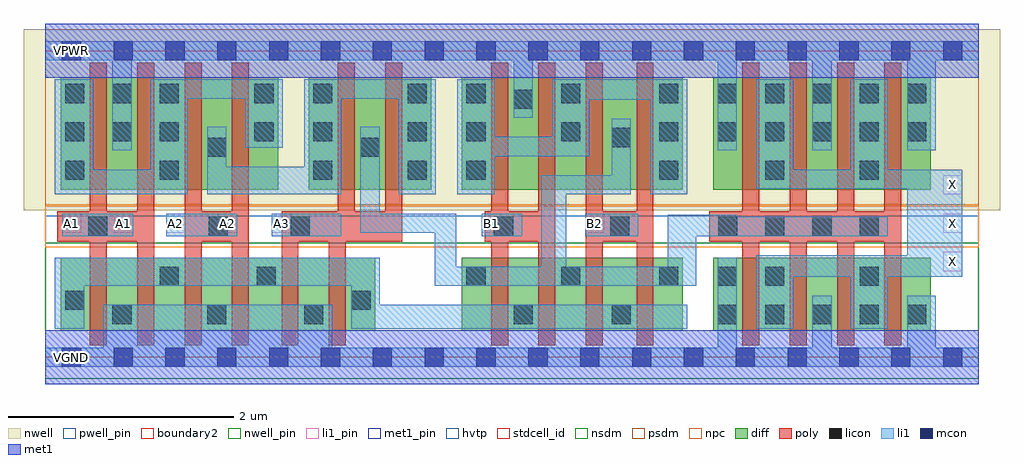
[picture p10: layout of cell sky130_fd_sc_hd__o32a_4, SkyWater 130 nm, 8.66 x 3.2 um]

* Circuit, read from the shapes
.subckt sky130_fd_sc_hd__o32a_4 A1 A2 A3 B1 B2 VGND VNB VPB VPWR X
XM1 VGND A1 n1 VNB sky130_fd_pr__nfet_01v8 w=0.65 l=0.15 m=2
XM2 VGND A2 n1 VNB sky130_fd_pr__nfet_01v8 w=0.65 l=0.15 m=2
XM3 VGND A3 n1 VNB sky130_fd_pr__nfet_01v8 w=0.65 l=0.15 m=2
XM4 n1 B1 n2 VNB sky130_fd_pr__nfet_01v8 w=0.65 l=0.15 m=2
XM5 n1 B2 n2 VNB sky130_fd_pr__nfet_01v8 w=0.65 l=0.15 m=2
XM6 X n2 VGND VNB sky130_fd_pr__nfet_01v8 w=0.65 l=0.15 m=4
XM7 VPWR A1 n3 VPB sky130_fd_pr__pfet_01v8_hvt w=1 l=0.15 m=2
XM8 n4 A2 n3 VPB sky130_fd_pr__pfet_01v8_hvt w=1 l=0.15 m=2
XM9 n2 A3 n4 VPB sky130_fd_pr__pfet_01v8_hvt w=1 l=0.15 m=2
XM10 VPWR B1 n5 VPB sky130_fd_pr__pfet_01v8_hvt w=1 l=0.15 m=2
XM11 n2 B2 n5 VPB sky130_fd_pr__pfet_01v8_hvt w=1 l=0.15 m=2
XM12 X n2 VPWR VPB sky130_fd_pr__pfet_01v8_hvt w=1 l=0.15 m=4
.ends

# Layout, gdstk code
import gdstk
lib = gdstk.Library(unit=1e-6, precision=1e-09)
def R(c, l, rs):  # rectangles x0, y0, x1, y1
    for r in rs: c.add(gdstk.rectangle(r[:2], r[2:], *l))
def A(c, l, x, y, w, h, nx, ny, dx, dy):  # array of equal rectangles
    R(c, l, [(x+i*dx, y+j*dy, x+i*dx+w, y+j*dy+h) for i in range(nx) for j in range(ny)])
def P(c, l, *ps):  # polygons
    for p in ps: c.add(gdstk.Polygon(p, *l))
nwell_pin = (64, 16)
nwell = (64, 20)
diff = (65, 20)
poly = (66, 20)
licon = (66, 44)
li1_pin = (67, 16)
li1 = (67, 20)
mcon = (67, 44)
met1_pin = (68, 16)
met1 = (68, 20)
hvtp = (78, 44)
stdcell_id = (81, 4)
nsdm = (93, 44)
psdm = (94, 20)
npc = (95, 20)
pwell_pin = (122, 16)
boundary2 = (236, 0)

sky130_fd_sc_hd__o32a_4 = lib.new_cell('sky130_fd_sc_hd__o32a_4')
R(sky130_fd_sc_hd__o32a_4, nwell_pin, [(0.15,2.635,0.32,2.805)])
R(sky130_fd_sc_hd__o32a_4, nwell, [(-0.19,1.305,8.47,2.91)])
R(sky130_fd_sc_hd__o32a_4, diff, [(0.135,0.235,2.925,0.885), (3.695,0.235,5.655,0.885), (5.925,0.235,7.855,0.885), (0.135,1.485,2.065,2.485), (2.335,1.485,3.425,2.485), (3.695,1.485,5.655,2.485), (5.925,1.485,7.855,2.485)])
P(sky130_fd_sc_hd__o32a_4, poly, [(2.095,0.105),(2.095,1.295),(2.595,1.295),(2.595,2.615),(2.745,2.615),(2.745,1.295),(3.015,1.295),(3.015,2.615),(3.165,2.615),(3.165,1.025),(2.665,1.025),(2.665,0.105),(2.515,0.105),(2.515,1.025),(2.245,1.025),(2.245,0.105)],
  [(6.185,0.105),(6.185,1.025),(5.89,1.025),(5.89,1.295),(6.185,1.295),(6.185,2.615),(6.335,2.615),(6.335,1.295),(6.605,1.295),(6.605,2.615),(6.755,2.615),(6.755,1.295),(7.025,1.295),(7.025,2.615),(7.175,2.615),(7.175,1.295),(7.445,1.295),(7.445,2.615),(7.595,2.615),(7.595,0.105),(7.445,0.105),(7.445,1.025),(7.175,1.025),(7.175,0.105),(7.025,0.105),(7.025,1.025),(6.755,1.025),(6.755,0.105),(6.605,0.105),(6.605,1.025),(6.335,1.025),(6.335,0.105)],
  [(1.235,0.105),(1.235,2.615),(1.385,2.615),(1.385,1.295),(1.655,1.295),(1.655,2.615),(1.805,2.615),(1.805,0.105),(1.655,0.105),(1.655,1.025),(1.385,1.025),(1.385,0.105)],
  [(0.395,0.105),(0.395,1.025),(0.105,1.025),(0.105,1.295),(0.395,1.295),(0.395,2.615),(0.545,2.615),(0.545,1.295),(0.815,1.295),(0.815,2.615),(0.965,2.615),(0.965,0.105),(0.815,0.105),(0.815,1.025),(0.545,1.025),(0.545,0.105)],
  [(3.955,0.105),(3.955,1.025),(3.9,1.025),(3.9,1.295),(3.955,1.295),(3.955,2.615),(4.105,2.615),(4.105,1.295),(4.375,1.295),(4.375,2.615),(4.525,2.615),(4.525,0.105),(4.375,0.105),(4.375,1.025),(4.105,1.025),(4.105,0.105)],
  [(4.795,0.105),(4.795,2.615),(4.945,2.615),(4.945,1.295),(5.245,1.295),(5.245,2.615),(5.395,2.615),(5.395,0.105),(5.245,0.105),(5.245,1.025),(4.945,1.025),(4.945,0.105)])
A(sky130_fd_sc_hd__o32a_4, licon, 5.965, 0.295, 0.17, 0.17, 5, 2, 0.42, 1.62)
A(sky130_fd_sc_hd__o32a_4, licon, 6.385, 1.075, 0.17, 0.17, 3, 1, 0.42, 0)
A(sky130_fd_sc_hd__o32a_4, licon, 2.375, 1.575, 0.17, 0.17, 1, 3, 0, 0.34)
A(sky130_fd_sc_hd__o32a_4, licon, 3.215, 1.575, 0.17, 0.17, 1, 3, 0, 0.34)
A(sky130_fd_sc_hd__o32a_4, licon, 3.735, 1.575, 0.17, 0.17, 1, 3, 0, 0.34)
A(sky130_fd_sc_hd__o32a_4, licon, 5.445, 1.575, 0.17, 0.17, 1, 3, 0, 0.34)
A(sky130_fd_sc_hd__o32a_4, licon, 0.175, 1.915, 0.17, 0.17, 3, 2, 0.42, 0.34)
A(sky130_fd_sc_hd__o32a_4, licon, 5.965, 2.255, 0.17, 0.17, 5, 1, 0.42, 0)
R(sky130_fd_sc_hd__o32a_4, licon, [(0.595,0.295,0.765,0.465), (1.435,0.295,1.605,0.465), (2.295,0.295,2.465,0.465), (4.155,0.295,4.325,0.465), (5.025,0.295,5.195,0.465), (0.175,0.42,0.345,0.59), (2.715,0.42,2.885,0.59), (1.015,0.635,1.185,0.805), (1.875,0.635,2.045,0.805), (3.735,0.635,3.905,0.805), (4.575,0.635,4.745,0.805), (5.445,0.635,5.615,0.805), (5.965,0.635,6.135,0.805), (6.385,0.635,6.555,0.805), (7.225,0.635,7.395,0.805), (0.38,1.075,0.55,1.245), (1.45,1.075,1.62,1.245), (2.175,1.075,2.345,1.245), (3.98,1.075,4.15,1.245), (5.01,1.075,5.18,1.245), (5.97,1.075,6.14,1.245), (0.175,1.575,0.345,1.745), (1.015,1.575,1.185,1.745), (6.385,1.575,6.555,1.745), (7.225,1.575,7.395,1.745), (1.435,1.78,1.605,1.95), (2.795,1.78,2.965,1.95), (5.025,1.865,5.195,2.035), (1.855,1.915,2.025,2.085), (4.575,1.915,4.745,2.085), (4.155,2.205,4.325,2.375), (1.855,2.255,2.025,2.425), (4.575,2.255,4.745,2.425)])
A(sky130_fd_sc_hd__o32a_4, li1_pin, 7.965, 0.765, 0.17, 0.17, 1, 3, 0, 0.34)
A(sky130_fd_sc_hd__o32a_4, li1_pin, 0.15, 1.105, 0.17, 0.17, 4, 1, 0.46, 0)
R(sky130_fd_sc_hd__o32a_4, li1_pin, [(2.01,1.105,2.18,1.275), (3.87,1.105,4.04,1.275), (4.79,1.105,4.96,1.275)])
R(sky130_fd_sc_hd__o32a_4, li1, [(0.15,1.075,0.78,1.275), (1.07,1.075,1.7,1.275), (2.01,1.075,2.625,1.275), (3.87,1.075,4.23,1.275), (4.79,1.075,5.26,1.275)])
P(sky130_fd_sc_hd__o32a_4, li1, [(0.085,1.445),(0.085,2.465),(0.425,2.465),(0.425,1.665),(0.935,1.665),(0.935,2.465),(2.105,2.465),(2.105,1.86),(1.775,1.86),(1.775,2.295),(1.265,2.295),(1.265,1.445)],
  [(0.085,0.255),(0.085,0.885),(2.965,0.885),(2.965,0.465),(5.695,0.465),(5.695,0.255),(2.715,0.255),(2.715,0.635),(0.345,0.635),(0.345,0.255)],
  [(0.595,1.835),(0.595,2.635),(0,2.635),(0,2.805),(8.28,2.805),(8.28,2.635),(7.9,2.635),(7.9,1.835),(7.645,1.835),(7.645,2.635),(6.975,2.635),(6.975,1.835),(6.805,1.835),(6.805,2.635),(6.135,2.635),(6.135,1.835),(5.965,1.835),(5.965,2.635),(4.325,2.635),(4.325,2.125),(4.155,2.125),(4.155,2.635),(0.765,2.635),(0.765,1.835)],
  [(6.305,0.255),(6.305,0.905),(7.645,0.905),(7.645,1.495),(6.305,1.495),(6.305,2.465),(6.635,2.465),(6.635,1.665),(7.145,1.665),(7.145,2.465),(7.475,2.465),(7.475,1.665),(8.135,1.665),(8.135,0.715),(7.475,0.715),(7.475,0.255),(7.145,0.255),(7.145,0.715),(6.635,0.715),(6.635,0.255)],
  [(3.455,0.635),(3.455,1.105),(2.795,1.105),(2.795,2.045),(2.965,2.045),(2.965,1.275),(3.645,1.275),(3.645,0.805),(4.4,0.805),(4.4,1.615),(5.025,1.615),(5.025,2.115),(5.195,2.115),(5.195,1.445),(4.62,1.445),(4.62,0.805),(5.52,0.805),(5.52,1.265),(6.135,1.265),(6.135,1.245),(7.475,1.245),(7.475,1.075),(5.775,1.075),(5.775,0.635)],
  [(0,-0.085),(0,0.085),(0.515,0.085),(0.515,0.465),(2.545,0.465),(2.545,0.085),(5.965,0.085),(5.965,0.885),(6.135,0.885),(6.135,0.085),(6.805,0.085),(6.805,0.545),(6.975,0.545),(6.975,0.085),(7.645,0.085),(7.645,0.545),(7.9,0.545),(7.9,0.085),(8.28,0.085),(8.28,-0.085)],
  [(3.655,1.445),(3.655,2.465),(3.985,2.465),(3.985,1.955),(4.495,1.955),(4.495,2.465),(5.695,2.465),(5.695,1.445),(5.365,1.445),(5.365,2.285),(4.825,2.285),(4.825,1.785),(3.985,1.785),(3.985,1.445)],
  [(1.435,1.445),(1.435,2.045),(1.605,2.045),(1.605,1.69),(2.295,1.69),(2.295,2.465),(3.465,2.465),(3.465,1.445),(3.135,1.445),(3.135,2.295),(2.625,2.295),(2.625,1.445)])
A(sky130_fd_sc_hd__o32a_4, mcon, 0.145, -0.085, 0.17, 0.17, 18, 2, 0.46, 2.72)
R(sky130_fd_sc_hd__o32a_4, met1_pin, [(0.15,-0.085,0.32,0.085), (0.15,2.635,0.32,2.805)])
R(sky130_fd_sc_hd__o32a_4, hvtp, [(0,1.25,8.28,2.72)])
R(sky130_fd_sc_hd__o32a_4, stdcell_id, [(0,0,8.28,2.72)])
R(sky130_fd_sc_hd__o32a_4, nsdm, [(0,-0.19,8.28,1.015)])
R(sky130_fd_sc_hd__o32a_4, psdm, [(0,1.355,8.28,2.91)])
R(sky130_fd_sc_hd__o32a_4, npc, [(0,0.975,8.28,1.345)])
R(sky130_fd_sc_hd__o32a_4, pwell_pin, [(0.15,-0.085,0.32,0.085)])
R(sky130_fd_sc_hd__o32a_4, boundary2, [(0,0,8.28,2.72)])
sky130_fd_sc_hd__o32a_4.add(gdstk.FlexPath([(0,0),(8.28,0)], 0.48, ends="flush", simple_path=True, layer=68, datatype=20))  # met1
sky130_fd_sc_hd__o32a_4.add(gdstk.FlexPath([(0,2.72),(8.28,2.72)], 0.48, ends="flush", simple_path=True, layer=68, datatype=20))  # met1
sky130_fd_sc_hd__o32a_4.add(gdstk.Label('VPWR', (0.23,2.72), layer=68, texttype=5))
sky130_fd_sc_hd__o32a_4.add(gdstk.Label('VGND', (0.23,0), layer=68, texttype=5))
sky130_fd_sc_hd__o32a_4.add(gdstk.Label('VPB', (0.235,2.72), layer=64, texttype=5))
sky130_fd_sc_hd__o32a_4.add(gdstk.Label('VNB', (0.235,0), layer=64, texttype=59))
sky130_fd_sc_hd__o32a_4.add(gdstk.Label('o32a_4', (0,0), layer=83, texttype=44))
sky130_fd_sc_hd__o32a_4.add(gdstk.Label('B1', (3.955,1.19), layer=67, texttype=5))
sky130_fd_sc_hd__o32a_4.add(gdstk.Label('A3', (2.095,1.19), layer=67, texttype=5))
sky130_fd_sc_hd__o32a_4.add(gdstk.Label('A2', (1.155,1.19), layer=67, texttype=5))
sky130_fd_sc_hd__o32a_4.add(gdstk.Label('A2', (1.615,1.19), layer=67, texttype=5))
sky130_fd_sc_hd__o32a_4.add(gdstk.Label('A1', (0.235,1.19), layer=67, texttype=5))
sky130_fd_sc_hd__o32a_4.add(gdstk.Label('A1', (0.695,1.19), layer=67, texttype=5))
sky130_fd_sc_hd__o32a_4.add(gdstk.Label('B2', (4.875,1.19), layer=67, texttype=5))
sky130_fd_sc_hd__o32a_4.add(gdstk.Label('X', (8.05,0.85), layer=67, texttype=5))
sky130_fd_sc_hd__o32a_4.add(gdstk.Label('X', (8.05,1.19), layer=67, texttype=5))
sky130_fd_sc_hd__o32a_4.add(gdstk.Label('X', (8.05,1.53), layer=67, texttype=5))

lib.write_gds('sky130_fd_sc_hd__o32a_4.gds')
